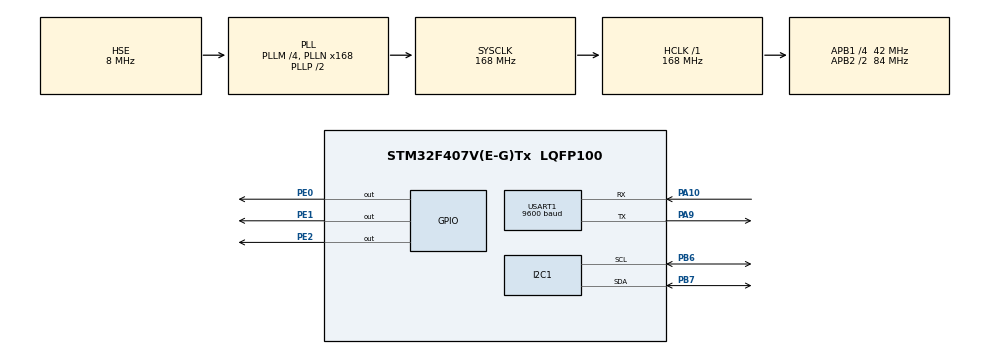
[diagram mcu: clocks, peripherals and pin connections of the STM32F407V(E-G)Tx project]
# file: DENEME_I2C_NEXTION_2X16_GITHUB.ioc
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I2C1.I2C_Mode=I2C_Fast
Mcu.Family=STM32F4
Mcu.Name=STM32F407V(E-G)Tx
Mcu.Package=LQFP100
NVIC.PriorityGroup=NVIC_PRIORITYGROUP_4
PA10.Mode=Asynchronous
PA10.Signal=USART1_RX
PA9.Mode=Asynchronous
PA9.Signal=USART1_TX
PB6.Mode=I2C
PB6.Signal=I2C1_SCL
PB7.Mode=I2C
PB7.Signal=I2C1_SDA
PE0.Signal=GPIO_Output
PE1.Signal=GPIO_Output
PE2.Signal=GPIO_Output
PH0-OSC_IN.Mode=HSE-External-Oscillator
PH0-OSC_IN.Signal=RCC_OSC_IN
PH1-OSC_OUT.Mode=HSE-External-Oscillator
PH1-OSC_OUT.Signal=RCC_OSC_OUT
ProjectManager.HeapSize=0x200
ProjectManager.StackSize=0x400
ProjectManager.TargetToolchain=STM32CubeIDE
RCC.48MHZClocksFreq_Value=84000000
RCC.AHBFreq_Value=168000000
RCC.APB1CLKDivider=RCC_HCLK_DIV4
RCC.APB1Freq_Value=42000000
RCC.APB1TimFreq_Value=84000000
RCC.APB2CLKDivider=RCC_HCLK_DIV2
RCC.APB2Freq_Value=84000000
RCC.APB2TimFreq_Value=168000000
RCC.CortexFreq_Value=168000000
RCC.HCLKFreq_Value=168000000
RCC.HSE_VALUE=8000000
RCC.HSI_VALUE=16000000
RCC.LSE_VALUE=32768
RCC.PLLM=4
RCC.PLLN=168
RCC.PLLSourceVirtual=RCC_PLLSOURCE_HSE
RCC.SYSCLKFreq_VALUE=168000000
RCC.SYSCLKSource=RCC_SYSCLKSOURCE_PLLCLK
RCC.VCOOutputFreq_Value=336000000
USART1.BaudRate=9600
USART1.VirtualMode=VM_ASYNC
board=custom

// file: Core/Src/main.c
/* USER CODE BEGIN Header */
/**
  ******************************************************************************
  * @file           : main.c
  * @brief          : Main program body
  ******************************************************************************
  * @attention
  *
  * <h2><center>&copy; Copyright (c) 2021 STMicroelectronics.
  * All rights reserved.</center></h2>
  *
  * This software component is licensed by ST under BSD 3-Clause license,
  * the "License"; You may not use this file except in compliance with the
  * License. You may obtain a copy of the License at:
  *                        opensource.org/licenses/BSD-3-Clause
  *
  ******************************************************************************
  */
/* USER CODE END Header */
#include "main.h"

/* USER CODE BEGIN Includes */
#include "i2c-lcd.h"
/* USER CODE END Includes */

I2C_HandleTypeDef hi2c1;

UART_HandleTypeDef huart1;

/* USER CODE BEGIN PV */
char rx_data[50];
/* USER CODE END PV */

void SystemClock_Config(void);
static void MX_GPIO_Init(void);
static void MX_USART1_UART_Init(void);
static void MX_I2C1_Init(void);

/* USER CODE BEGIN 0 */
void lcd_led_control()
{
	  if (rx_data[0] == 0x65 && rx_data[1] == 0x00 && rx_data[2] == 0x02 && rx_data[3] == 0x01 && rx_data[4] == 0xFF && rx_data[5] == 0xFF && rx_data[6] == 0xFF)
	  {
		  HAL_GPIO_WritePin(GPIOE, GPIO_PIN_All, GPIO_PIN_RESET);
		  HAL_GPIO_WritePin(GPIOE, GPIO_PIN_0, GPIO_PIN_SET); // RED

		  lcd_send_cmd(0x01);
		  HAL_Delay(200);

		  lcd_send_cmd(0x80);
		  lcd_send_string("R");
		  HAL_Delay(100);
		  lcd_send_cmd(0x81);
		  lcd_send_string("e");
		  HAL_Delay(100);
		  lcd_send_cmd(0x82);
		  lcd_send_string("d");
		  HAL_Delay(100);
		  lcd_send_cmd(0x83);
		  lcd_send_string(" ");
		  HAL_Delay(100);
		  lcd_send_cmd(0x84);
		  lcd_send_string("L");
		  HAL_Delay(100);
		  lcd_send_cmd(0x85);
		  lcd_send_string("e");
		  HAL_Delay(100);
		  lcd_send_cmd(0x86);
		  lcd_send_string("d");
		  HAL_Delay(100);
		  lcd_send_cmd(0x87);
		  lcd_send_string(" ");
		  HAL_Delay(100);
		  lcd_send_cmd(0x88);
		  lcd_send_string("O");
		  HAL_Delay(100);
		  lcd_send_cmd(0x89);
		  lcd_send_string("n");
		  HAL_Delay(100);

	  }
	  if (rx_data[0] == 0x65 && rx_data[1] == 0x00 && rx_data[2] == 0x03 && rx_data[3] == 0x01 && rx_data[4] == 0xFF && rx_data[5] == 0xFF && rx_data[6] == 0xFF)
	  {
		  HAL_GPIO_WritePin(GPIOE, GPIO_PIN_All, GPIO_PIN_RESET);
		  HAL_GPIO_WritePin(GPIOE, GPIO_PIN_1, GPIO_PIN_SET); // GREEN

		  lcd_send_cmd(0x01);
		  HAL_Delay(200);

		  lcd_send_cmd(0x80);
		  lcd_send_string("G");
		  HAL_Delay(100);
		  lcd_send_cmd(0x81);
		  lcd_send_string("r");
		  HAL_Delay(100);
		  lcd_send_cmd(0x82);
		  lcd_send_string("e");
		  HAL_Delay(100);
		  lcd_send_cmd(0x83);
		  lcd_send_string("e");
		  HAL_Delay(100);
		  lcd_send_cmd(0x84);
		  lcd_send_string("n");
		  HAL_Delay(100);
		  lcd_send_cmd(0x85);
		  lcd_send_string(" ");
		  HAL_Delay(100);
		  lcd_send_cmd(0x86);
		  lcd_send_string("L");
		  HAL_Delay(100);
		  lcd_send_cmd(0x87);
		  lcd_send_string("e");
		  HAL_Delay(100);
		  lcd_send_cmd(0x88);
		  lcd_send_string("d");
		  HAL_Delay(100);
		  lcd_send_cmd(0x89);
		  lcd_send_string(" ");
		  HAL_Delay(100);
		  lcd_send_cmd(0x8A);
		  lcd_send_string("O");
		  HAL_Delay(100);
		  lcd_send_cmd(0x8B);
		  lcd_send_string("n");
		  HAL_Delay(100);

	  }
	  if (rx_data[0] == 0x65 && rx_data[1] == 0x00 && rx_data[2] == 0x04 && rx_data[3] == 0x01 && rx_data[4] == 0xFF && rx_data[5] == 0xFF && rx_data[6] == 0xFF)
	  {
		  HAL_GPIO_WritePin(GPIOE, GPIO_PIN_All, GPIO_PIN_RESET);
		  HAL_GPIO_WritePin(GPIOE, GPIO_PIN_2, GPIO_PIN_SET); // BLUE

		  lcd_send_cmd(0x01);
		  HAL_Delay(200);

		  lcd_send_cmd(0x80);
		  lcd_send_string("B");
		  HAL_Delay(100);
		  lcd_send_cmd(0x81);
		  lcd_send_string("l");
		  HAL_Delay(100);
		  lcd_send_cmd(0x82);
		  lcd_send_string("u");
		  HAL_Delay(100);
		  lcd_send_cmd(0x83);
		  lcd_send_string("e");
		  HAL_Delay(100);
		  lcd_send_cmd(0x84);
		  lcd_send_string(" ");
		  HAL_Delay(100);
		  lcd_send_cmd(0x85);
		  lcd_send_string("L");
		  HAL_Delay(100);
		  lcd_send_cmd(0x86);
		  lcd_send_string("e");
		  HAL_Delay(100);
		  lcd_send_cmd(0x87);
		  lcd_send_string("d");
		  HAL_Delay(100);
		  lcd_send_cmd(0x88);
		  lcd_send_string(" ");
		  HAL_Delay(100);
		  lcd_send_cmd(0x89);
		  lcd_send_string("O");
		  HAL_Delay(100);
		  lcd_send_cmd(0x8A);
		  lcd_send_string("n");
		  HAL_Delay(100);

	  }

	  for(int i =0 ;i<50;i++)
	  {
		  rx_data[i] = '\0'; //Clear rx_data.
	  }
}
/* USER CODE END 0 */

int main(void)
{

  /* MCU Configuration--------------------------------------------------------*/

  /* Reset of all peripherals, Initializes the Flash interface and the Systick. */
  HAL_Init();

  /* Configure the system clock */
  SystemClock_Config();

  /* Initialize all configured peripherals */
  MX_GPIO_Init();
  MX_USART1_UART_Init();
  MX_I2C1_Init();
  /* USER CODE BEGIN 2 */
  lcd_init();
  /* USER CODE END 2 */

  /* Infinite loop */
  while (1)
  {

    /* USER CODE BEGIN 3 */

	  // Link of project video -----------> https://drive.google.com/file/d/1t2BQ6f1A7iYuSNHACwhNgc-JZ7MDPGb0/view?usp=sharing

	  HAL_UART_Receive(&huart1, (uint8_t *)rx_data, 50 , 100);
	  lcd_led_control();

  }
  /* USER CODE END 3 */
}

void SystemClock_Config(void)
{
  RCC_OscInitTypeDef RCC_OscInitStruct = {0};
  RCC_ClkInitTypeDef RCC_ClkInitStruct = {0};

  /** Configure the main internal regulator output voltage
  */
  __HAL_RCC_PWR_CLK_ENABLE();
  __HAL_PWR_VOLTAGESCALING_CONFIG(PWR_REGULATOR_VOLTAGE_SCALE1);
  /** Initializes the RCC Oscillators according to the specified parameters
  * in the RCC_OscInitTypeDef structure.
  */
  RCC_OscInitStruct.OscillatorType = RCC_OSCILLATORTYPE_HSE;
  RCC_OscInitStruct.HSEState = RCC_HSE_ON;
  RCC_OscInitStruct.PLL.PLLState = RCC_PLL_ON;
  RCC_OscInitStruct.PLL.PLLSource = RCC_PLLSOURCE_HSE;
  RCC_OscInitStruct.PLL.PLLM = 4;
  RCC_OscInitStruct.PLL.PLLN = 168;
  RCC_OscInitStruct.PLL.PLLP = RCC_PLLP_DIV2;
  RCC_OscInitStruct.PLL.PLLQ = 4;
  if (HAL_RCC_OscConfig(&RCC_OscInitStruct) != HAL_OK)
  {
    Error_Handler();
  }
  /** Initializes the CPU, AHB and APB buses clocks
  */
  RCC_ClkInitStruct.ClockType = RCC_CLOCKTYPE_HCLK|RCC_CLOCKTYPE_SYSCLK
                              |RCC_CLOCKTYPE_PCLK1|RCC_CLOCKTYPE_PCLK2;
  RCC_ClkInitStruct.SYSCLKSource = RCC_SYSCLKSOURCE_PLLCLK;
  RCC_ClkInitStruct.AHBCLKDivider = RCC_SYSCLK_DIV1;
  RCC_ClkInitStruct.APB1CLKDivider = RCC_HCLK_DIV4;
  RCC_ClkInitStruct.APB2CLKDivider = RCC_HCLK_DIV2;

  if (HAL_RCC_ClockConfig(&RCC_ClkInitStruct, FLASH_LATENCY_5) != HAL_OK)
  {
    Error_Handler();
  }
}

static void MX_I2C1_Init(void)
{

  hi2c1.Instance = I2C1;
  hi2c1.Init.ClockSpeed = 400000;
  hi2c1.Init.DutyCycle = I2C_DUTYCYCLE_2;
  hi2c1.Init.OwnAddress1 = 0;
  hi2c1.Init.AddressingMode = I2C_ADDRESSINGMODE_7BIT;
  hi2c1.Init.DualAddressMode = I2C_DUALADDRESS_DISABLE;
  hi2c1.Init.OwnAddress2 = 0;
  hi2c1.Init.GeneralCallMode = I2C_GENERALCALL_DISABLE;
  hi2c1.Init.NoStretchMode = I2C_NOSTRETCH_DISABLE;
  if (HAL_I2C_Init(&hi2c1) != HAL_OK)
  {
    Error_Handler();
  }

}

static void MX_USART1_UART_Init(void)
{

  huart1.Instance = USART1;
  huart1.Init.BaudRate = 9600;
  huart1.Init.WordLength = UART_WORDLENGTH_8B;
  huart1.Init.StopBits = UART_STOPBITS_1;
  huart1.Init.Parity = UART_PARITY_NONE;
  huart1.Init.Mode = UART_MODE_TX_RX;
  huart1.Init.HwFlowCtl = UART_HWCONTROL_NONE;
  huart1.Init.OverSampling = UART_OVERSAMPLING_16;
  if (HAL_UART_Init(&huart1) != HAL_OK)
  {
    Error_Handler();
  }

}

static void MX_GPIO_Init(void)
{
  GPIO_InitTypeDef GPIO_InitStruct = {0};

  /* GPIO Ports Clock Enable */
  __HAL_RCC_GPIOE_CLK_ENABLE();
  __HAL_RCC_GPIOH_CLK_ENABLE();
  __HAL_RCC_GPIOA_CLK_ENABLE();
  __HAL_RCC_GPIOB_CLK_ENABLE();

  /*Configure GPIO pin Output Level */
  HAL_GPIO_WritePin(GPIOE, GPIO_PIN_2|GPIO_PIN_0|GPIO_PIN_1, GPIO_PIN_RESET);

  /*Configure GPIO pins : PE2 PE0 PE1 */
  GPIO_InitStruct.Pin = GPIO_PIN_2|GPIO_PIN_0|GPIO_PIN_1;
  GPIO_InitStruct.Mode = GPIO_MODE_OUTPUT_PP;
  GPIO_InitStruct.Pull = GPIO_NOPULL;
  GPIO_InitStruct.Speed = GPIO_SPEED_FREQ_LOW;
  HAL_GPIO_Init(GPIOE, &GPIO_InitStruct);

}

void Error_Handler(void)
{
  __disable_irq();
  while (1)
  {
  }
}

/************************ (C) COPYRIGHT STMicroelectronics *****END OF FILE****/
